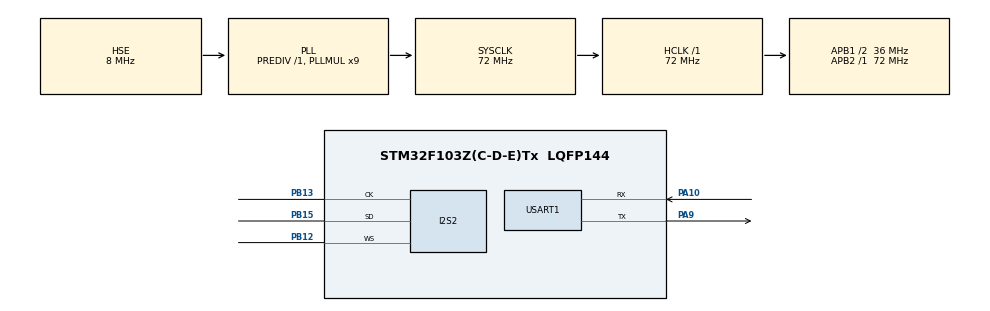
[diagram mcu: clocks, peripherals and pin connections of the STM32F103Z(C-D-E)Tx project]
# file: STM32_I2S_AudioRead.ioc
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Dma.Request0=SPI2_RX
Dma.SPI2_RX.0.Direction=DMA_PERIPH_TO_MEMORY
Dma.SPI2_RX.0.Instance=DMA1_Channel4
Dma.SPI2_RX.0.MemDataAlignment=DMA_MDATAALIGN_WORD
Dma.SPI2_RX.0.MemInc=DMA_MINC_ENABLE
Dma.SPI2_RX.0.Mode=DMA_CIRCULAR
Dma.SPI2_RX.0.PeriphDataAlignment=DMA_PDATAALIGN_WORD
Dma.SPI2_RX.0.PeriphInc=DMA_PINC_DISABLE
Dma.SPI2_RX.0.Priority=DMA_PRIORITY_HIGH
I2S2.AudioFreq=I2S_AUDIOFREQ_8K
I2S2.DataFormat=I2S_DATAFORMAT_24B
I2S2.ErrorAudioFreq=-0.27 %
I2S2.Instance=SPI$Index
I2S2.RealAudioFreq=7.978 KHz
I2S2.VirtualMode=I2S_MODE_MASTER
Mcu.Family=STM32F1
Mcu.Name=STM32F103Z(C-D-E)Tx
Mcu.Package=LQFP144
NVIC.DMA1_Channel4_IRQn=true\:0\:0\:false\:false\:true\:false\:true
NVIC.PriorityGroup=NVIC_PRIORITYGROUP_4
OSC_IN.Mode=HSE-External-Oscillator
OSC_IN.Signal=RCC_OSC_IN
OSC_OUT.Mode=HSE-External-Oscillator
OSC_OUT.Signal=RCC_OSC_OUT
PA10.Mode=Asynchronous
PA10.Signal=USART1_RX
PA13.Mode=Serial_Wire
PA13.Signal=SYS_JTMS-SWDIO
PA14.Mode=Serial_Wire
PA14.Signal=SYS_JTCK-SWCLK
PA9.Mode=Asynchronous
PA9.Signal=USART1_TX
PB12.Mode=Half_Duplex_Master_RX
PB12.Signal=I2S2_WS
PB13.Mode=Half_Duplex_Master_RX
PB13.Signal=I2S2_CK
PB15.Mode=Half_Duplex_Master_RX
PB15.Signal=I2S2_SD
ProjectManager.HeapSize=0x200
ProjectManager.StackSize=0x400
ProjectManager.TargetToolchain=MDK-ARM V5.32
RCC.AHBFreq_Value=72000000
RCC.APB1CLKDivider=RCC_HCLK_DIV2
RCC.APB1Freq_Value=36000000
RCC.APB1TimFreq_Value=72000000
RCC.APB2Freq_Value=72000000
RCC.APB2TimFreq_Value=72000000
RCC.HCLKFreq_Value=72000000
RCC.PLLMUL=RCC_PLL_MUL9
RCC.PLLSourceVirtual=RCC_PLLSOURCE_HSE
RCC.SYSCLKFreq_VALUE=72000000
RCC.SYSCLKSource=RCC_SYSCLKSOURCE_PLLCLK
RCC.USBFreq_Value=72000000
USART1.VirtualMode=VM_ASYNC
board=custom

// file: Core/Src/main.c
/* USER CODE BEGIN Header */
/**
  ******************************************************************************
  * @file           : main.c
  * @brief          : Main program body
  ******************************************************************************
  * @attention
  *
  * Copyright (c) 2022 STMicroelectronics.
  * All rights reserved.
  *
  * This software is licensed under terms that can be found in the LICENSE file
  * in the root directory of this software component.
  * If no LICENSE file comes with this software, it is provided AS-IS.
  *
  ******************************************************************************
  */
/* USER CODE END Header */
#include "main.h"
#include "dma.h"
#include "i2s.h"
#include "usart.h"
#include "gpio.h"

/* USER CODE BEGIN Includes */
#include <stdio.h>
/* USER CODE END Includes */

/* USER CODE BEGIN PV */
uint32_t dma[4];
uint32_t val24;
int val32;
/* USER CODE END PV */

void SystemClock_Config(void);

/* USER CODE BEGIN 0 */
int cb_cnt=0;
void HAL_I2S_RxCpltCallback(I2S_HandleTypeDef *hi2s)
{
	if(hi2s==&hi2s2){
		cb_cnt++;
		val24=(dma[0]<<8)+(dma[1]>>8);
		if(val24 & 0x800000){//negative
			val32=0xff000000 | val24;
		}else{//positive
			val32=val24;
		}
		if(cb_cnt%10==0)
			printf("%d\r\n",val32);
	}
}
/* USER CODE END 0 */

int main(void)
{

  /* MCU Configuration--------------------------------------------------------*/

  /* Reset of all peripherals, Initializes the Flash interface and the Systick. */
  HAL_Init();

  /* Configure the system clock */
  SystemClock_Config();

  /* Initialize all configured peripherals */
  MX_GPIO_Init();
  MX_DMA_Init();
  MX_I2S2_Init();
  MX_USART1_UART_Init();

  /* Infinite loop */
  /* USER CODE BEGIN WHILE */

  HAL_I2S_Receive_DMA(&hi2s2,(uint16_t*)dma,4);

  while (1)
  {
		HAL_Delay(100);
    /* USER CODE END WHILE */

  }
}

void SystemClock_Config(void)
{
  RCC_OscInitTypeDef RCC_OscInitStruct = {0};
  RCC_ClkInitTypeDef RCC_ClkInitStruct = {0};
  RCC_PeriphCLKInitTypeDef PeriphClkInit = {0};

  /** Initializes the RCC Oscillators according to the specified parameters
  * in the RCC_OscInitTypeDef structure.
  */
  RCC_OscInitStruct.OscillatorType = RCC_OSCILLATORTYPE_HSE;
  RCC_OscInitStruct.HSEState = RCC_HSE_ON;
  RCC_OscInitStruct.HSEPredivValue = RCC_HSE_PREDIV_DIV1;
  RCC_OscInitStruct.HSIState = RCC_HSI_ON;
  RCC_OscInitStruct.PLL.PLLState = RCC_PLL_ON;
  RCC_OscInitStruct.PLL.PLLSource = RCC_PLLSOURCE_HSE;
  RCC_OscInitStruct.PLL.PLLMUL = RCC_PLL_MUL9;
  if (HAL_RCC_OscConfig(&RCC_OscInitStruct) != HAL_OK)
  {
    Error_Handler();
  }
  /** Initializes the CPU, AHB and APB buses clocks
  */
  RCC_ClkInitStruct.ClockType = RCC_CLOCKTYPE_HCLK|RCC_CLOCKTYPE_SYSCLK
                              |RCC_CLOCKTYPE_PCLK1|RCC_CLOCKTYPE_PCLK2;
  RCC_ClkInitStruct.SYSCLKSource = RCC_SYSCLKSOURCE_PLLCLK;
  RCC_ClkInitStruct.AHBCLKDivider = RCC_SYSCLK_DIV1;
  RCC_ClkInitStruct.APB1CLKDivider = RCC_HCLK_DIV2;
  RCC_ClkInitStruct.APB2CLKDivider = RCC_HCLK_DIV1;

  if (HAL_RCC_ClockConfig(&RCC_ClkInitStruct, FLASH_LATENCY_2) != HAL_OK)
  {
    Error_Handler();
  }
  PeriphClkInit.PeriphClockSelection = RCC_PERIPHCLK_I2S2;
  PeriphClkInit.I2s2ClockSelection = RCC_I2S2CLKSOURCE_SYSCLK;
  if (HAL_RCCEx_PeriphCLKConfig(&PeriphClkInit) != HAL_OK)
  {
    Error_Handler();
  }
}

void Error_Handler(void)
{
  __disable_irq();
  while (1)
  {
  }
}
